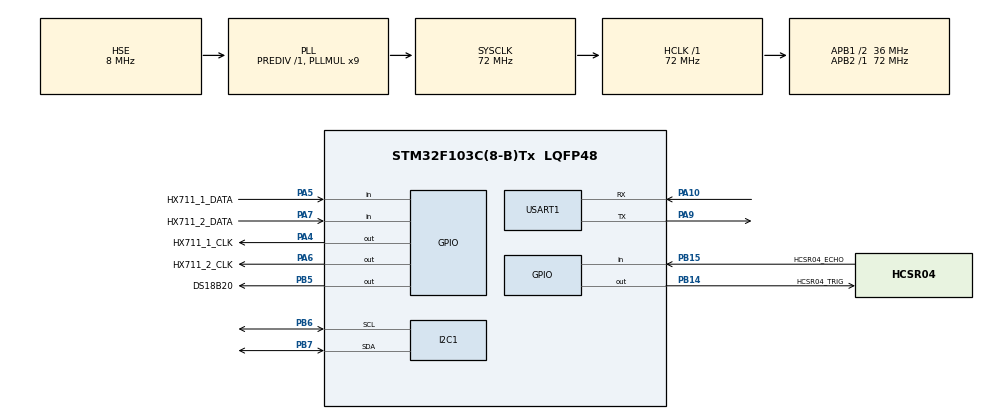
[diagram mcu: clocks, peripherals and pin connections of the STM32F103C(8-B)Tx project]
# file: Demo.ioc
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Mcu.Family=STM32F1
Mcu.Name=STM32F103C(8-B)Tx
Mcu.Package=LQFP48
NVIC.PriorityGroup=NVIC_PRIORITYGROUP_4
PA10.Mode=Asynchronous
PA10.Signal=USART1_RX
PA13.Mode=Serial_Wire
PA13.Signal=SYS_JTMS-SWDIO
PA14.Mode=Serial_Wire
PA14.Signal=SYS_JTCK-SWCLK
PA4.GPIO_Label=HX711_1_CLK
PA4.GPIO_Speed=GPIO_SPEED_FREQ_HIGH
PA4.PinState=GPIO_PIN_RESET
PA4.Signal=GPIO_Output
PA5.GPIO_Label=HX711_1_DATA
PA5.GPIO_PuPd=GPIO_NOPULL
PA5.Signal=GPIO_Input
PA6.GPIO_Label=HX711_2_CLK
PA6.GPIO_Speed=GPIO_SPEED_FREQ_HIGH
PA6.PinState=GPIO_PIN_RESET
PA6.Signal=GPIO_Output
PA7.GPIO_Label=HX711_2_DATA
PA7.GPIO_PuPd=GPIO_NOPULL
PA7.Signal=GPIO_Input
PA9.Mode=Asynchronous
PA9.Signal=USART1_TX
PB14.GPIO_Label=HCSR04_TRIG
PB14.GPIO_PuPd=GPIO_PULLDOWN
PB14.GPIO_Speed=GPIO_SPEED_FREQ_HIGH
PB14.Signal=GPIO_Output
PB15.GPIO_Label=HCSR04_ECHO
PB15.GPIO_PuPd=GPIO_NOPULL
PB15.Signal=GPIO_Input
PB5.GPIO_Label=DS18B20
PB5.GPIO_PuPd=GPIO_PULLUP
PB5.GPIO_Speed=GPIO_SPEED_FREQ_HIGH
PB5.Signal=GPIO_Output
PB6.Mode=I2C
PB6.Signal=I2C1_SCL
PB7.Mode=I2C
PB7.Signal=I2C1_SDA
PC14-OSC32_IN.Mode=LSE-External-Oscillator
PC14-OSC32_IN.Signal=RCC_OSC32_IN
PC15-OSC32_OUT.Mode=LSE-External-Oscillator
PC15-OSC32_OUT.Signal=RCC_OSC32_OUT
PD0-OSC_IN.Mode=HSE-External-Oscillator
PD0-OSC_IN.Signal=RCC_OSC_IN
PD1-OSC_OUT.Mode=HSE-External-Oscillator
PD1-OSC_OUT.Signal=RCC_OSC_OUT
ProjectManager.HeapSize=0x200
ProjectManager.StackSize=0x400
ProjectManager.TargetToolchain=MDK-ARM V5
RCC.ADCPresc=RCC_ADCPCLK2_DIV6
RCC.AHBFreq_Value=72000000
RCC.APB1CLKDivider=RCC_HCLK_DIV2
RCC.APB1Freq_Value=36000000
RCC.APB1TimFreq_Value=72000000
RCC.APB2Freq_Value=72000000
RCC.APB2TimFreq_Value=72000000
RCC.HCLKFreq_Value=72000000
RCC.PLLMUL=RCC_PLL_MUL9
RCC.PLLSourceVirtual=RCC_PLLSOURCE_HSE
RCC.SYSCLKFreq_VALUE=72000000
RCC.SYSCLKSource=RCC_SYSCLKSOURCE_PLLCLK
RCC.USBFreq_Value=72000000
TIM1.Prescaler=72-1
USART1.VirtualMode=VM_ASYNC
VP_TIM1_VS_ClockSourceINT.Mode=Internal
board=custom

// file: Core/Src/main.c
/* USER CODE BEGIN Header */
/**
  ******************************************************************************
  * @file           : main.c
  * @brief          : Main program body
  ******************************************************************************
  * @attention
  *
  * <h2><center>&copy; Copyright (c) 2021 STMicroelectronics.
  * All rights reserved.</center></h2>
  *
  * This software component is licensed by ST under BSD 3-Clause license,
  * the "License"; You may not use this file except in compliance with the
  * License. You may obtain a copy of the License at:
  *                        opensource.org/licenses/BSD-3-Clause
  *
  ******************************************************************************
  */
/* USER CODE END Header */
#include "main.h"
#include "i2c.h"
#include "tim.h"
#include "usart.h"
#include "gpio.h"

/* USER CODE BEGIN Includes */
#include "stdio.h"
#include "ds18b20.h"
#include "hcsr04.h"
#include "hx711.h"
#include "oled.h"
/* USER CODE END Includes */

void SystemClock_Config(void);

int main(void)
{
  /* USER CODE BEGIN 1 */
	int i = 0;
	int x = 0;
	int y = 0;

	float Temprature_Value;
	int Temprature_Value_Integer;
	int Temprature_Value_Decimal;

	float Distance_Value;
	int Distance_Value_Integer;
	int Distance_Value_Decimal;

	int Pressure_Left;
	int Pressure_Right;
  /* USER CODE END 1 */

  /* MCU Configuration--------------------------------------------------------*/

  /* Reset of all peripherals, Initializes the Flash interface and the Systick. */
  HAL_Init();

  /* Configure the system clock */
  SystemClock_Config();

  /* Initialize all configured peripherals */
  MX_GPIO_Init();
  MX_I2C1_Init();
  MX_TIM1_Init();
  MX_USART1_UART_Init();
  /* USER CODE BEGIN 2 */
	OLED_Init();
	OLED_Clear();

	OLED_ShowChinese(x, y, 0);
	OLED_ShowChinese(x + 1 * 16, y, 1);
	OLED_ShowChinese(x + 2 * 16, y, 8);
	OLED_ShowChar(x + 3 * 16, y, ':', 16);

	OLED_ShowChinese(x, y + 1 * 2, 2);
	OLED_ShowChinese(x + 1 * 16, y + 1 * 2, 3);
	OLED_ShowChinese(x + 2 * 16, y + 1 * 2, 8);
	OLED_ShowChar(x + 3 * 16, y + 1 * 2, ':', 16);

	OLED_ShowChinese(x, y + 2 * 2, 4);
	OLED_ShowChinese(x + 1 * 16, y + 2 * 2, 5);
	OLED_ShowChinese(x + 2 * 16, y + 2 * 2, 6);
	OLED_ShowChinese(x + 3 * 16, y + 2 * 2, 8);
	OLED_ShowChar(x + 4 * 16, y + 2 * 2, ':', 16);

	OLED_ShowChinese(x, y + 3 * 2, 4);
	OLED_ShowChinese(x + 1 * 16, y + 3 * 2, 5);
	OLED_ShowChinese(x + 2 * 16, y + 3 * 2, 7);
	OLED_ShowChinese(x + 3 * 16, y + 3 * 2, 8);
	OLED_ShowChar(x + 4 * 16, y + 3 * 2, ':', 16);

	while(DS18B20_Init())
	{
		printf("DS18B20接入失败，请重试!\r\n");
		HAL_Delay(500);
	}
	printf("DS18B20接入成功!\r\n");

	HAL_GPIO_WritePin(HX711_1_CLK_GPIO_Port,HX711_1_CLK_Pin,GPIO_PIN_RESET);
	HAL_GPIO_WritePin(HX711_2_CLK_GPIO_Port,HX711_2_CLK_Pin,GPIO_PIN_RESET);
  /* USER CODE END 2 */

  /* Infinite loop */
  /* USER CODE BEGIN WHILE */
  while (1)
  {
		i += 1;

		if(i % 2 == 0)
		{
			Temprature_Value = DS18B20_GetTemperture();
			Temprature_Value_Integer = (int)Temprature_Value;
			Temprature_Value_Decimal = 10 * (Temprature_Value - (int)Temprature_Value);

			Distance_Value = HCSR04_GetDistance_Repeatedly(5);
			Distance_Value_Integer = (int)Distance_Value;
			Distance_Value_Decimal = 10 * (Distance_Value - (int)Distance_Value);

			Pressure_Left = Get_Weight_1();
			Pressure_Right = Get_Weight_2();

			if(Pressure_Left > 0)
			{
				Pressure_Left = Pressure_Left;
			}
			else
			{
				Pressure_Left = 0;
			}

			if(Pressure_Right > 0)
			{
				Pressure_Right = Pressure_Right;
			}
			else
			{
				Pressure_Right = 0;
			}

			printf("======================\r\n");
			printf("温度值：%.1fC\r\n",Temprature_Value);
			printf("距离值：%.1fcm\r\n",Distance_Value);
			printf("压力左值：%dg\r\n",Pressure_Left);
			printf("压力右值：%dg\r\n",Pressure_Right);
			printf("======================\r\n");
		}

		OLED_ShowNum(x + 7 * 8, y, Temprature_Value_Integer, 2, 16);
		OLED_ShowChar(x + 9 * 8, y, '.', 16);
		OLED_ShowNum(x + 10 * 8, y, Temprature_Value_Decimal, 1, 16);
		OLED_ShowChar(x + 11 * 8, y, 'C', 16);

		OLED_ShowNum(x + 7 * 8, y + 1 * 2, Distance_Value_Integer, 2, 16);
		OLED_ShowChar(x + 9 * 8, y + 1 * 2, '.', 16);
		OLED_ShowNum(x + 10 * 8, y + 1 * 2, Distance_Value_Decimal, 1, 16);
		OLED_ShowChar(x + 11 * 8, y + 1 * 2, 'c', 16);
		OLED_ShowChar(x + 12 * 8, y + 1 * 2, 'm', 16);

		OLED_ShowNum(x + 9 * 8, y + 2 * 2, Pressure_Left, 4, 16);
		OLED_ShowChar(x + 13 * 8, y + 2 * 2, 'g', 16);

		OLED_ShowNum(x + 9 * 8, y + 3 * 2, Pressure_Right, 4, 16);
		OLED_ShowChar(x + 13 * 8, y + 3 * 2, 'g', 16);
    /* USER CODE END WHILE */

  }
}

void SystemClock_Config(void)
{
  RCC_OscInitTypeDef RCC_OscInitStruct = {0};
  RCC_ClkInitTypeDef RCC_ClkInitStruct = {0};

  /** Initializes the RCC Oscillators according to the specified parameters
  * in the RCC_OscInitTypeDef structure.
  */
  RCC_OscInitStruct.OscillatorType = RCC_OSCILLATORTYPE_HSE;
  RCC_OscInitStruct.HSEState = RCC_HSE_ON;
  RCC_OscInitStruct.HSEPredivValue = RCC_HSE_PREDIV_DIV1;
  RCC_OscInitStruct.HSIState = RCC_HSI_ON;
  RCC_OscInitStruct.PLL.PLLState = RCC_PLL_ON;
  RCC_OscInitStruct.PLL.PLLSource = RCC_PLLSOURCE_HSE;
  RCC_OscInitStruct.PLL.PLLMUL = RCC_PLL_MUL9;
  if (HAL_RCC_OscConfig(&RCC_OscInitStruct) != HAL_OK)
  {
    Error_Handler();
  }
  /** Initializes the CPU, AHB and APB buses clocks
  */
  RCC_ClkInitStruct.ClockType = RCC_CLOCKTYPE_HCLK|RCC_CLOCKTYPE_SYSCLK
                              |RCC_CLOCKTYPE_PCLK1|RCC_CLOCKTYPE_PCLK2;
  RCC_ClkInitStruct.SYSCLKSource = RCC_SYSCLKSOURCE_PLLCLK;
  RCC_ClkInitStruct.AHBCLKDivider = RCC_SYSCLK_DIV1;
  RCC_ClkInitStruct.APB1CLKDivider = RCC_HCLK_DIV2;
  RCC_ClkInitStruct.APB2CLKDivider = RCC_HCLK_DIV1;

  if (HAL_RCC_ClockConfig(&RCC_ClkInitStruct, FLASH_LATENCY_2) != HAL_OK)
  {
    Error_Handler();
  }
}

void Error_Handler(void)
{
  __disable_irq();
  while (1)
  {
  }
}

/************************ (C) COPYRIGHT STMicroelectronics *****END OF FILE****/
